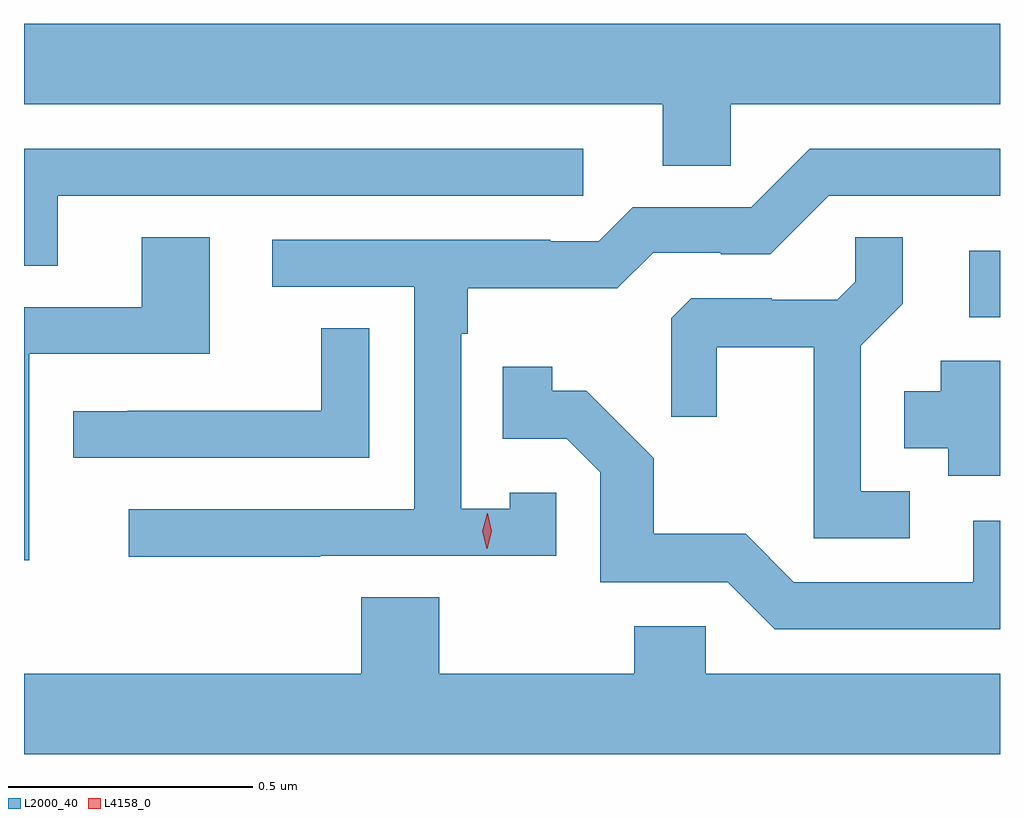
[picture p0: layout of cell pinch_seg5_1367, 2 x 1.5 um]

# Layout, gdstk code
import gdstk
lib = gdstk.Library(unit=1e-6, precision=1e-09)
def R(c, l, rs):  # rectangles x0, y0, x1, y1
    for r in rs: c.add(gdstk.rectangle(r[:2], r[2:], *l))
def P(c, l, *ps):  # polygons
    for p in ps: c.add(gdstk.Polygon(p, *l))
L2000_40 = (2000, 40)
L4158_0 = (4158, 0)

pinch_seg5_1367 = lib.new_cell('pinch_seg5_1367')
R(pinch_seg5_1367, L2000_40, [(340.539,908.271,340.602,908.407)])
P(pinch_seg5_1367, L2000_40, [(340.05,908.708),(340.602,908.708),(340.602,908.872),(338.602,908.872),(338.602,908.708),(339.911,908.708),(339.911,908.581),(340.05,908.581)],
  [(339.209,907.782),(339.693,907.782),(339.693,907.911),(339.597,907.911),(339.597,907.879),(339.498,907.879),(339.498,908.237),(339.511,908.237),(339.511,908.33),(339.818,908.33),(339.891,908.403),(340.03,908.403),(340.03,908.4),(340.131,908.4),(340.251,908.52),(340.602,908.52),(340.602,908.616),(340.212,908.616),(340.092,908.496),(339.849,908.496),(339.78,908.427),(339.68,908.427),(339.68,908.43),(339.111,908.43),(339.111,908.334),(339.402,908.334),(339.402,907.878),(338.817,907.878),(338.817,907.78),(339.209,907.78)],
  [(338.671,908.52),(339.748,908.52),(339.748,908.616),(338.602,908.616),(338.602,908.377),(338.671,908.377)],
  [(338.613,908.196),(338.983,908.196),(338.983,908.435),(338.843,908.435),(338.843,908.292),(338.602,908.292),(338.602,907.773),(338.613,907.773)],
  [(340.417,907.914),(340.317,907.914),(340.317,908.213),(340.403,908.299),(340.403,908.435),(340.305,908.435),(340.305,908.344),(340.268,908.307),(340.134,908.307),(340.134,908.31),(339.969,908.31),(339.928,908.269),(339.928,908.067),(340.022,908.067),(340.022,908.21),(340.22,908.21),(340.22,907.818),(340.417,907.818)],
  [(339.309,908.249),(339.211,908.249),(339.211,908.079),(338.815,908.079),(338.815,908.078),(338.703,908.078),(338.703,907.983),(339.309,907.983)],
  [(340.602,908.182),(340.481,908.182),(340.481,908.119),(340.406,908.119),(340.406,908.003),(340.496,908.003),(340.496,907.946),(340.602,907.946)],
  [(340.602,907.854),(340.547,907.854),(340.547,907.728),(340.179,907.728),(340.081,907.827),(339.892,907.827),(339.892,907.982),(339.754,908.12),(339.684,908.12),(339.684,908.17),(339.583,908.17),(339.583,908.022),(339.714,908.022),(339.783,907.953),(339.783,907.728),(340.044,907.728),(340.14,907.632),(340.602,907.632)],
  [(340.602,907.54),(339.999,907.54),(339.999,907.638),(339.853,907.638),(339.853,907.54),(339.453,907.54),(339.453,907.697),(339.293,907.697),(339.293,907.54),(338.602,907.54),(338.602,907.376),(340.602,907.376)])
P(pinch_seg5_1367, L4158_0, [(339.55,907.797),(339.541,907.833),(339.551,907.869),(339.552,907.869),(339.552,907.869),(339.561,907.833),(339.551,907.797),(339.551,907.797)])

lib.write_gds('pinch_seg5_1367.gds')
